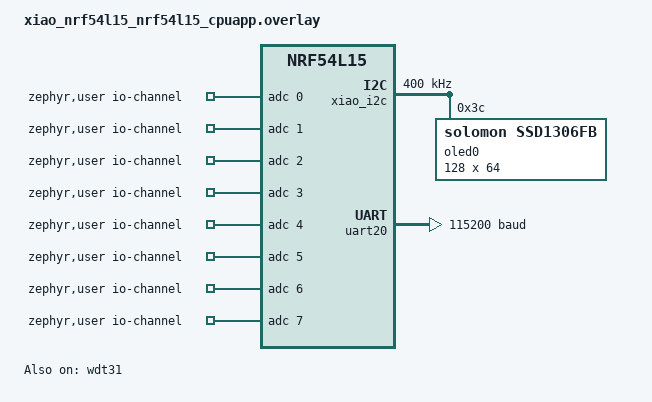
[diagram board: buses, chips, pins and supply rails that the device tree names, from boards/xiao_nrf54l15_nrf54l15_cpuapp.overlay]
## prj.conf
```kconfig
# ── 1. AI ENGINE & C++ ────────────────────────────────────────────────────────
CONFIG_CPP=y
CONFIG_STD_CPP17=y
CONFIG_EXTERNAL_LIBCPP=y
CONFIG_NEWLIB_LIBC=y
CONFIG_NEWLIB_LIBC_FLOAT_PRINTF=y
CONFIG_FPU=y

# ── 2. MEMORY & STACK ─────────────────────────────────────────────────────────
CONFIG_MAIN_STACK_SIZE=8192
CONFIG_HEAP_MEM_POOL_SIZE=16384
CONFIG_SYSTEM_WORKQUEUE_STACK_SIZE=4096
CONFIG_BT_RX_STACK_SIZE=2048
CONFIG_BT_HCI_TX_STACK_SIZE=2048
CONFIG_MPSL_WORK_STACK_SIZE=2048

# ── 3. HARDWARE ───────────────────────────────────────────────────────────────
CONFIG_GPIO=y
CONFIG_I2C=y
CONFIG_REGULATOR=y

# ── 4. BLUETOOTH ──────────────────────────────────────────────────────────────
CONFIG_BT=y
CONFIG_BT_PERIPHERAL=y
CONFIG_BT_DEVICE_NAME="XIAO_SENSE"
CONFIG_BT_CTLR=n
CONFIG_BT_LL_SW_SPLIT=n
CONFIG_BT_LL_SOFTDEVICE=y
CONFIG_BT_SETTINGS=y
CONFIG_FLASH=y
CONFIG_FLASH_MAP=y
CONFIG_NVS=y
CONFIG_SETTINGS=y
CONFIG_SETTINGS_RUNTIME=y

# ── 5. POWER MANAGEMENT ───────────────────────────────────────────────────────
CONFIG_PM=y
CONFIG_PM_DEVICE=y
CONFIG_PM_DEVICE_RUNTIME=y
CONFIG_TICKLESS_KERNEL=y

# ── 6. SILENCE ────────────────────────────────────────────────────────────────
CONFIG_LOG=y
CONFIG_SERIAL=n
CONFIG_UART_CONSOLE=n
CONFIG_CONSOLE=n
CONFIG_PRINTK=n
CONFIG_BOOT_BANNER=n
```

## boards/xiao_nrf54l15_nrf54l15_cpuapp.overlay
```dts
/ {
    chosen {
        zephyr,bt-hci   = &bt_hci_sdc;
        zephyr,display = &oled0;
    };
	zephyr,user {
		io-channels = <&adc 0>, <&adc 1>, <&adc 2>, <&adc 3>,
			<&adc 4>, <&adc 5>, <&adc 6>, <&adc 7>;
	};
};
 
&xiao_i2c {
    clock-frequency = <400000>;
    status = "okay";
    zephyr,concat-buf-size = <1025>;
    zephyr,flash-buf-max-size = <1025>;
    /* The SSD1306 Driver Definition */
    oled0: ssd1306@3c {
        compatible = "solomon,ssd1306fb";
        reg = <0x3c>; /* Address 0x3C */
        width = <128>;
        height = <64>;
        segment-offset = <0>;
        page-offset = <0>;
        display-offset = <0>;
        multiplex-ratio = <63>;
        segment-remap;
        com-invdir;
        prechargep = <0x22>;
    };
};
&wdt31 {
	status = "okay";
};


&uart20 {
    current-speed = <115200>;
	//current-speed = <460800>;
};
```

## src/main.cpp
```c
#include <stdio.h>
#include <string.h>
#include <math.h>

#include <zephyr/kernel.h>
#include <zephyr/device.h>
#include <zephyr/devicetree.h>
#include <zephyr/drivers/i2c.h>
#include <zephyr/drivers/gpio.h>
#include <zephyr/drivers/regulator.h>
#include <zephyr/bluetooth/bluetooth.h>
#include <zephyr/bluetooth/hci.h>
#include <zephyr/settings/settings.h>
#include <zephyr/pm/device.h>
#include <zephyr/pm/device_runtime.h>

#include <edge-impulse-sdk/classifier/ei_run_classifier.h>

// ── 1. CONFIGURATION ──────────────────────────────────────────────────────────

#define SAMPLE_RATE_HZ   50
#define TOTAL_SAMPLES    150
#define SAMPLE_DELAY_MS  (1000 / SAMPLE_RATE_HZ)

#define BLE_ADV_INTERVAL_UNITS 160
#define BLE_ADV_DURATION_MS    600

// ── 2. HARDWARE NODES ─────────────────────────────────────────────────────────

static const struct i2c_dt_spec imu           = I2C_DT_SPEC_GET(DT_NODELABEL(lsm6dso));
static const struct device *const imu_dev     = imu.bus;
static const struct gpio_dt_spec button       = GPIO_DT_SPEC_GET(DT_ALIAS(sw0), gpios);
static const struct device *const rfsw_pwr    = DEVICE_DT_GET_OR_NULL(DT_NODELABEL(rfsw_pwr));
static const struct device *const rfsw_ctl    = DEVICE_DT_GET_OR_NULL(DT_NODELABEL(rfsw_ctl));
static const struct device *const pdm_imu_pwr = DEVICE_DT_GET_OR_NULL(DT_NODELABEL(pdm_imu_pwr));

// ── 3. GLOBALS ────────────────────────────────────────────────────────────────

struct RawSample { int16_t ax, ay, az, gx, gy, gz; };
static struct RawSample rx_buffer[TOTAL_SAMPLES];
static float ei_buffer[EI_CLASSIFIER_DSP_INPUT_FRAME_SIZE];

static K_SEM_DEFINE(button_sem, 0, 1);
static struct gpio_callback button_cb_data;

// ── 4. BLE DATA (all in RAM - SoftDevice DMA cannot access flash) ─────────────

static uint8_t adv_flags  = BT_LE_AD_GENERAL | BT_LE_AD_NO_BREDR;
static uint8_t mfg_data[] = { 0x90, 0x05, 0x00 };
static char    dev_name[] = "XIAO_SENSE";

static struct bt_data ad[] = {
    BT_DATA(BT_DATA_FLAGS, &adv_flags, 1),
    BT_DATA(BT_DATA_MANUFACTURER_DATA, mfg_data, 3),
};
static struct bt_data sd[] = {
    BT_DATA(BT_DATA_NAME_COMPLETE, dev_name, sizeof(dev_name) - 1),
};

// ── 5. DEFERRED WORK ──────────────────────────────────────────────────────────

static void stop_adv_work_fn(struct k_work *w)
{
    bt_le_adv_stop();
    bt_disable();

    if (rfsw_pwr && device_is_ready(rfsw_pwr)) regulator_disable(rfsw_pwr);
    if (rfsw_ctl && device_is_ready(rfsw_ctl)) regulator_disable(rfsw_ctl);
}
K_WORK_DELAYABLE_DEFINE(stop_adv_work, stop_adv_work_fn);

// ── 6. BLE BROADCAST ─────────────────────────────────────────────────────────

static void broadcast_result(uint8_t result)
{
    // Power up RF rails
    if (rfsw_pwr && device_is_ready(rfsw_pwr)) regulator_enable(rfsw_pwr);
    if (rfsw_ctl && device_is_ready(rfsw_ctl)) regulator_enable(rfsw_ctl);
    k_msleep(10);

    // Enable BLE stack
    if (bt_enable(NULL) != 0) {
        if (rfsw_pwr && device_is_ready(rfsw_pwr)) regulator_disable(rfsw_pwr);
        if (rfsw_ctl && device_is_ready(rfsw_ctl)) regulator_disable(rfsw_ctl);
        return;
    }

    // Required on every bt_enable() - works without UART
    // because CONFIG_SETTINGS_RUNTIME=y is set in prj.conf
    settings_load();
    k_msleep(50);

    mfg_data[2] = result;

    struct bt_le_adv_param adv_param = {
        .id           = BT_ID_DEFAULT,
        .sid          = 0,
        .options      = 0,
        .interval_min = BLE_ADV_INTERVAL_UNITS,
        .interval_max = BLE_ADV_INTERVAL_UNITS,
    };

    int err = -EAGAIN;
    for (int attempt = 0; attempt < 3 && err != 0; attempt++) {
        if (attempt > 0) k_msleep(20);
        err = bt_le_adv_start(&adv_param, ad, ARRAY_SIZE(ad), sd, ARRAY_SIZE(sd));
    }

    if (err == 0) {
        k_work_reschedule(&stop_adv_work, K_MSEC(BLE_ADV_DURATION_MS));
    } else {
        // Adv failed, shut down cleanly
        bt_disable();
        if (rfsw_pwr && device_is_ready(rfsw_pwr)) regulator_disable(rfsw_pwr);
        if (rfsw_ctl && device_is_ready(rfsw_ctl)) regulator_disable(rfsw_ctl);
    }
}

// ── 7. BUTTON ISR ─────────────────────────────────────────────────────────────

static void button_isr(const struct device *dev, struct gpio_callback *cb,
                       uint32_t pins)
{
    k_sem_give(&button_sem);
}

// ── 8. IMU POWER ─────────────────────────────────────────────────────────────

static void imu_power_enable(void)
{
    if (pdm_imu_pwr && device_is_ready(pdm_imu_pwr)) {
        regulator_enable(pdm_imu_pwr);
        k_msleep(50);
    }
    pm_device_runtime_get(imu_dev);
    k_msleep(10);
}

static void imu_power_disable(void)
{
    pm_device_runtime_put(imu_dev);
    if (pdm_imu_pwr && device_is_ready(pdm_imu_pwr)) {
        regulator_disable(pdm_imu_pwr);
    }
}

// ── 9. IMU HELPERS ────────────────────────────────────────────────────────────

static void imu_wake_up(void)
{
    i2c_reg_write_byte_dt(&imu, 0x10, 0x60);
    i2c_reg_write_byte_dt(&imu, 0x11, 0x6C);
    k_msleep(20);
}

static void imu_power_down(void)
{
    i2c_reg_write_byte_dt(&imu, 0x10, 0x00);
    i2c_reg_write_byte_dt(&imu, 0x11, 0x00);
}

static int ei_get_data(size_t offset, size_t length, float *out_ptr)
{
    if (out_ptr == NULL) return -1;
    memcpy(out_ptr, ei_buffer + offset, length * sizeof(float));
    return 0;
}

static void record_gesture(void)
{
    for (int i = 0; i < TOTAL_SAMPLES; i++) {
        uint8_t raw[6];

        i2c_burst_read_dt(&imu, 0x28, raw, 6);
        rx_buffer[i].ax = (int16_t)(raw[0] | (raw[1] << 8));
        rx_buffer[i].ay = (int16_t)(raw[2] | (raw[3] << 8));
        rx_buffer[i].az = (int16_t)(raw[4] | (raw[5] << 8));

        i2c_burst_read_dt(&imu, 0x22, raw, 6);
        rx_buffer[i].gx = (int16_t)(raw[0] | (raw[1] << 8));
        rx_buffer[i].gy = (int16_t)(raw[2] | (raw[3] << 8));
        rx_buffer[i].gz = (int16_t)(raw[4] | (raw[5] << 8));

        k_msleep(SAMPLE_DELAY_MS);
    }
}

// ── 10. INFERENCE ─────────────────────────────────────────────────────────────

static uint8_t run_inference(void)
{
    size_t f_idx = 0;

    for (int i = 0; i < TOTAL_SAMPLES; i++) {
        float ax = (float)rx_buffer[i].ax;
        float ay = (float)rx_buffer[i].ay;
        float az = (float)rx_buffer[i].az;
        float gx = (float)rx_buffer[i].gx;
        float gy = (float)rx_buffer[i].gy;
        float gz = (float)rx_buffer[i].gz;

        float acc_mag  = sqrtf(ax * ax + ay * ay + az * az);
        float gyro_mag = sqrtf(gx * gx + gy * gy + gz * gz);

        float feat[8] = { ax, ay, az, acc_mag, gx, gy, gz, gyro_mag };

        for (int j = 0; j < 8; j++) {
            if (f_idx < EI_CLASSIFIER_DSP_INPUT_FRAME_SIZE) {
                ei_buffer[f_idx++] = feat[j];
            }
        }
    }

    signal_t signal;
    memset(&signal, 0, sizeof(signal_t));
    signal.total_length = EI_CLASSIFIER_DSP_INPUT_FRAME_SIZE;
    signal.get_data     = &ei_get_data;

    ei_impulse_result_t result = { 0 };
    if (run_classifier(&signal, &result, false) != EI_IMPULSE_OK) return 0;

    int   best_idx = 0;
    float best_val = 0.0f;

    for (uint16_t i = 0; i < EI_CLASSIFIER_LABEL_COUNT; i++) {
        if (result.classification[i].value > best_val) {
            best_val = result.classification[i].value;
            best_idx = i;
        }
    }

    return (uint8_t)(best_idx + 1);
}

// ── 11. MAIN ──────────────────────────────────────────────────────────────────

int main(void)
{
    k_msleep(500);

    // GPIO setup
    gpio_pin_configure_dt(&button, GPIO_INPUT | GPIO_PULL_UP);
    gpio_pin_interrupt_configure_dt(&button, GPIO_INT_EDGE_TO_ACTIVE);
    gpio_init_callback(&button_cb_data, button_isr, BIT(button.pin));
    gpio_add_callback(button.port, &button_cb_data);

    // IMU runtime PM enable, soft reset, then power down immediately
    pm_device_runtime_enable(imu_dev);
    imu_power_enable();
    i2c_reg_write_byte_dt(&imu, 0x12, 0x01);
    k_msleep(50);
    imu_power_down();
    imu_power_disable();

    // Everything off - CPU sleeps at ~12uA waiting for button
    while (1) {
        k_sem_take(&button_sem, K_FOREVER);
        k_msleep(150); // Debounce

        imu_power_enable();
        imu_wake_up();
        record_gesture();
        imu_power_down();
        imu_power_disable();

        uint8_t gesture_class = run_inference();

        // BLE powers up, broadcasts 600ms, shuts itself down via work queue
        broadcast_result((gesture_class >= 1 && gesture_class <= 5) ? gesture_class : 0);
    }

    return 0;
}
```
